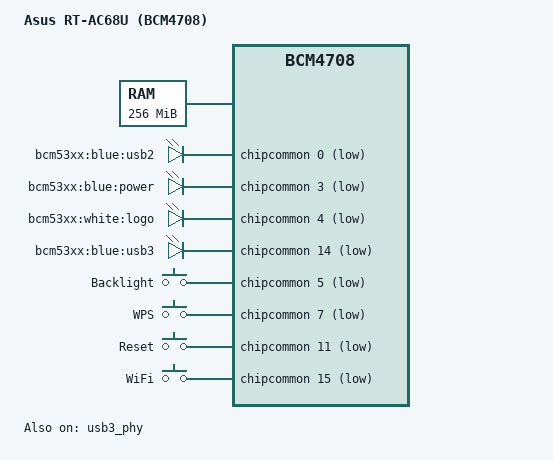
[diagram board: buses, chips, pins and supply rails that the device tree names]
// SPDX-License-Identifier: GPL-2.0-or-later OR MIT
/*
 * Broadcom BCM470X / BCM5301X ARM platform code.
 * DTS for Asus RT-AC68U
 *
 * Copyright (C) 2015 Rafał Miłecki <zajec5@gmail.com>
 */

/dts-v1/;

#include "bcm4708.dtsi"
#include "bcm5301x-nand-cs0-bch8.dtsi"

/ {
	compatible = "asus,rt-ac68u", "brcm,bcm4708";
	model = "Asus RT-AC68U (BCM4708)";

	chosen {
		bootargs = "console=ttyS0,115200";
	};

	memory {
		reg = <0x00000000 0x08000000
		       0x88000000 0x08000000>;
	};

	leds {
		compatible = "gpio-leds";

		usb2 {
			label = "bcm53xx:blue:usb2";
			gpios = <&chipcommon 0 GPIO_ACTIVE_LOW>;
		};

		power {
			label = "bcm53xx:blue:power";
			gpios = <&chipcommon 3 GPIO_ACTIVE_LOW>;
			linux,default-trigger = "default-on";
		};

		logo {
			label = "bcm53xx:white:logo";
			gpios = <&chipcommon 4 GPIO_ACTIVE_LOW>;
			linux,default-trigger = "default-on";
		};

		usb3 {
			label = "bcm53xx:blue:usb3";
			gpios = <&chipcommon 14 GPIO_ACTIVE_LOW>;
		};
	};

	gpio-keys {
		compatible = "gpio-keys";
		#address-cells = <1>;
		#size-cells = <0>;

		brightness {
			label = "Backlight";
			linux,code = <KEY_BRIGHTNESS_ZERO>;
			gpios = <&chipcommon 5 GPIO_ACTIVE_LOW>;
		};

		wps {
			label = "WPS";
			linux,code = <KEY_WPS_BUTTON>;
			gpios = <&chipcommon 7 GPIO_ACTIVE_LOW>;
		};

		restart {
			label = "Reset";
			linux,code = <KEY_RESTART>;
			gpios = <&chipcommon 11 GPIO_ACTIVE_LOW>;
		};

		rfkill {
			label = "WiFi";
			linux,code = <KEY_RFKILL>;
			gpios = <&chipcommon 15 GPIO_ACTIVE_LOW>;
		};
	};
};

&usb3_phy {
	status = "okay";
};
